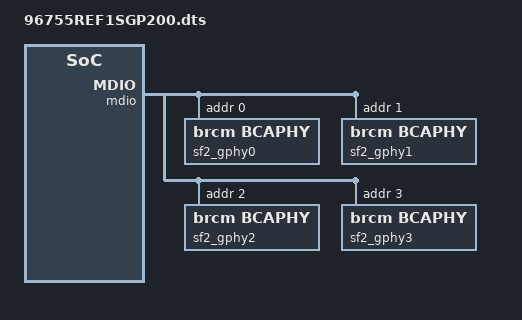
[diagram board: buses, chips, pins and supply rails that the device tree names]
#include "47622.dtsi"

/ {
    memory_controller {
        memcfg = <(BP_DDR_SPEED_933_13_13_13  | \
                   BP_DDR_TOTAL_SIZE_512MB    | \
                   BP_DDR_DEVICE_WIDTH_16     | \
                   BP_DDR_TOTAL_WIDTH_16BIT   | \
                   BP_DDR_SSC_CONFIG_1)>;
    };

	buttons {
		compatible = "brcm,buttons";
		ses_button {
			ext_irq = <&bca_extintr 4 BCA_GPIO_ACTIVE_LOW (BCA_EXTINTR_TYPE_LOW_LEVEL | BCA_EXTINTR_TYPE_SENSE_EDGE)>;
			release {
				ses_short_period = <0>;
				ses_long_period = <3>;
			};
		};
	};

	switch_sf2:0 {
	};
};

&sysport {
	compatible = "brcm,bcmbca-systemport-v2.0";
	reg-names =
		"systemport-rbuf-base",
		"systemport-rdma-base",
		"systemport-tdma-base",
		"systemport-umac-base",
		"systemport-topctrl-base",
		"systemport1-rbuf-base",
		"systemport1-rdma-base",
		"systemport1-tdma-base",
		"systemport1-umac-base",
		"systemport1-topctrl-base",
		"systemport-switchmdio-base",
		"sphy-ctrl",
		"phy-test-ctrl";
	reg =   <0x80400400 0x14>,
			<0x80402000 0x1300>,
			<0x80404000 0x8ff>,
			<0x80400800 0x350>,
			<0x80400000 0x40>,
		    <0x80500400 0x14>,
			<0x80502000 0x1300>,
			<0x80504000 0x8ff>,
			<0x80500800 0x350>,
			<0x80500000 0x40>,
			<0x80411300 0x10>,
			<0x804110c0 0x04>,
			<0x804110bc 0x04>;
	phy_base = <0x8>;
	phy_wkard_timeout = <25000>;
	ethsw = <&switch_sf2>;
};
&mdio {
	phy8:8 {
		status = "okay";
	};

	phy_serdes0:6 {
		phy-extswitch;
		status = "okay";
	};

	/* PHYs on external SF2 switch */
	sf2_gphy0:0 {
		compatible = "brcm,bcaphy";
		phy-type = "EGPHY";
		reg = <0>;
		status = "okay";
	};
	sf2_gphy1:1 {
		compatible = "brcm,bcaphy";
		phy-type = "EGPHY";
		reg = <1>;
		status = "okay";
	};
	sf2_gphy2:2 {
		compatible = "brcm,bcaphy";
		phy-type = "EGPHY";
		reg = <2>;
		status = "okay";
	};
	sf2_gphy3:3 {
		compatible = "brcm,bcaphy";
		phy-type = "EGPHY";
		reg = <3>;
		status = "okay";
	};
};

&switch_sf2 {
	unit = <1>;
	sw-type = "SF2_SW";

	compatible = "brcm,bcmbca-extsw";
	pinctrl-0 = <&a_rgmii_mdc_pin_68 &a_rgmii_mdio_pin_69 >;
	pinctrl-names="default";
	reg-names ="systemport-serdes-cntrl";
	reg = <0x804110a8 0x8>;
	extswsgmii_addr = <0x6>;
	switch-reset = <&gpioc 10 GPIO_ACTIVE_LOW>;

	ports {
		#address-cells = <1>;
		#size-cells = <0>;

		sf2_port0@0 {
			phy-handle = <&sf2_gphy0>;
			reg = <0>;
			mac-type = "SF2MAC";
			phy-mode = "gmii";
			gmii-direct;
			status = "okay";
		};
		sf2_port1@1 {
			phy-handle = <&sf2_gphy1>;
			reg = <1>;
			mac-type = "SF2MAC";
			phy-mode = "gmii";
			gmii-direct;
			status = "okay";
		};
		sf2_port2@2 {
			phy-handle = <&sf2_gphy2>;
			reg = <2>;
			mac-type = "SF2MAC";
			phy-mode = "gmii";
			gmii-direct;
			status = "okay";
		};
		sf2_port3@3 {
			phy-handle = <&sf2_gphy3>;
			reg = <3>;
			mac-type = "SF2MAC";
			phy-mode = "gmii";
			gmii-direct;
			status = "okay";
		};
		sf2_port8@8 {
			management;                     /* sf2.p8 <--> sysp.p1 */
			reg = <8>;
			mac-type = "SF2MAC";
			shrink-ipg;
			phy-mode = "gmii";
			gmii-direct;
			status = "okay";
		};
	};
};

&switch0 {
	pinctrl-names = "default"; 
	pinctrl-0 = <&a_rgmii_mdc_pin_68 &a_rgmii_mdio_pin_69>; 

	ports {
		/* fixed port configuration */
		sysp_port0@0 {
			phy-handle = <&phy8>;
			status = "okay";
		};
		sysp_port1@1 {
			phy-handle = <&phy_serdes0>;
			link = <&switch_sf2>;           /* sysp.p1 <--> sf2.p8 */
			shrink-ipg;
			status = "okay";
		};
	};
};
